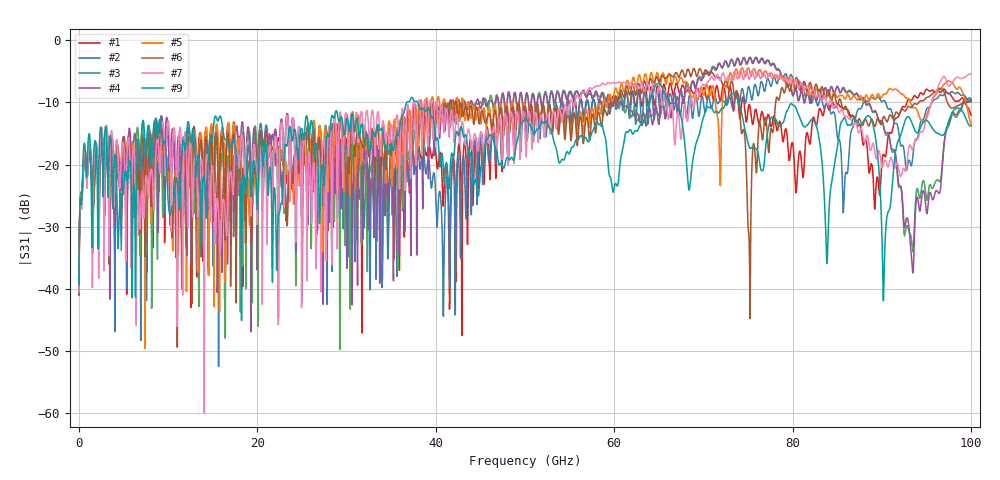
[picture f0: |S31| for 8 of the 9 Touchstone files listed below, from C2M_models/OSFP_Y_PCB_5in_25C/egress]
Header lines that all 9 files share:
# GHz S RI R 45
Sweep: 25 MHz to 100 GHz
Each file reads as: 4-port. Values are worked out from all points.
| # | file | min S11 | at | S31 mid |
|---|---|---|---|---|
| 1 | C2M_Y_OSFP224_5in_host_PCB_25C_FEXT_TP0_Tx1_to_TP1a_Tx7.s4p | -52.8 dB | 31.8 GHz | -12.6 dB at 50.02 GHz |
| 2 | C2M_Y_OSFP224_5in_host_PCB_25C_FEXT_TP0_Tx2_to_TP1a_Tx7.s4p | -52.7 dB | 39.25 GHz | -12.6 dB at 50.02 GHz |
| 3 | C2M_Y_OSFP224_5in_host_PCB_25C_FEXT_TP0_Tx3_to_TP1a_Tx7.s4p | -57.1 dB | 30.23 GHz | -10.3 dB at 50.02 GHz |
| 4 | C2M_Y_OSFP224_5in_host_PCB_25C_FEXT_TP0_Tx4_to_TP1a_Tx7.s4p | -46.2 dB | 17.93 GHz | -10.0 dB at 50.02 GHz |
| 5 | C2M_Y_OSFP224_5in_host_PCB_25C_FEXT_TP0_Tx5_to_TP1a_Tx7.s4p | -49.8 dB | 11.3 GHz | -10.4 dB at 50.02 GHz |
| 6 | C2M_Y_OSFP224_5in_host_PCB_25C_FEXT_TP0_Tx6_to_TP1a_Tx7.s4p | -50.3 dB | 2.275 GHz | -10.6 dB at 50.02 GHz |
| 7 | C2M_Y_OSFP224_5in_host_PCB_25C_FEXT_TP0_Tx8_to_TP1a_Tx7.s4p | -48.7 dB | 1.5 GHz | -15.4 dB at 50.02 GHz |
| 8 | C2M_Y_OSFP224_5in_host_PCB_25C_NEXT_TP1a_Rx2_to_TP1a_Tx7.s4p | -62.0 dB | 1.425 GHz | -14.6 dB at 50.02 GHz |
| 9 | C2M_Y_OSFP224_5in_host_PCB_25C_NEXT_TP1a_Rx6_to_TP1a_Tx7.s4p | -61.1 dB | 22.43 GHz | -12.6 dB at 50.02 GHz |
